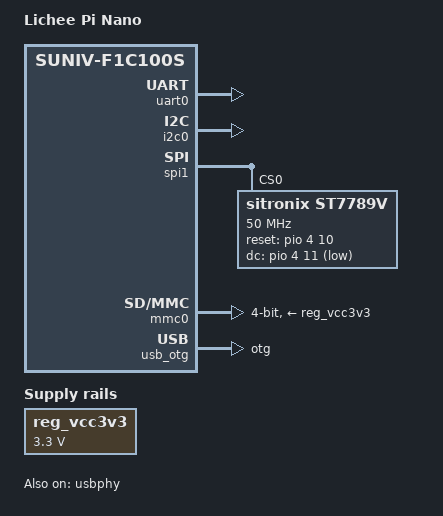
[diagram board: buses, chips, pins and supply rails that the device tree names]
// SPDX-License-Identifier: (GPL-2.0+ OR X11)
/*
 * Copyright 2018 Icenowy Zheng <icenowy@aosc.io>
 */

/dts-v1/;
#include "suniv-f1c100s.dtsi"

#include <dt-bindings/gpio/gpio.h>

/ {
	model = "Lichee Pi Nano";
	compatible = "licheepi,licheepi-nano", "allwinner,suniv-f1c100s";

	aliases {
		serial0 = &uart0;
		//serial1 = &uart1;
		i2c0 = &i2c0;
		spi0 = &spi0;
		spi1 = &spi1;
	};

	chosen {
		stdout-path = "serial0:115200n8";
	};

        reg_vcc3v3: vcc3v3 {
                compatible = "regulator-fixed";
                regulator-name = "vcc3v3";
                regulator-min-microvolt = <3300000>;
                regulator-max-microvolt = <3300000>;
        };
/*
	lradc: lradc@1c23400 {
		compatible = "allwinner,sun4i-a10-lradc-keys";
	        reg = <0x01c23400 0x100>;
        	interrupts = <22>;
	        vref-supply = <&reg_vcc3v3>;

	        button-132 {
        	    label = "PRE";
	            linux,code = <105>;
	            channel = <0>;
	            voltage = <1396825>;
	        };

	        button-196 {
	            label = "NEXT";
	            linux,code = <106>;
	            channel = <0>;
	            voltage = <1955555>;
       		};

	        button-233 {
	            label = "OK";
	            linux,code = <28>;
	            channel = <0>;
	            voltage = <233000>;
       		};

	        button-271 {
	            label = "BACK";
	            linux,code = <14>;
	            channel = <0>;
	            voltage = <271300>;
       		};
	};
*/
	lradc: lradc@1c23400 {
		compatible = "allwinner,suniv-f1c100s-lradc-keys";
	        reg = <0x01c23400 0x100>;
        	interrupts = <22>;
	        vref-supply = <&reg_vcc3v3>;
	};

};

&dma {
	status = "okay";
};

&uart0 {
	pinctrl-names = "default";
	pinctrl-0 = <&uart0_pe_pins>;
	status = "okay";
};

/*
&uart1 {
	pinctrl-names = "default";
	pinctrl-0 = <&uart1_pa_pins>;
	status = "disabled";
};
*/

&i2c0 {
	pinctl-names = "default";
	pinctrl-0 = <&i2c0_pe_pins>;
	status = "okay";
	i2c-max-frequency = <400000>;
};

&spi0 {
	pinctrl-names = "default";
	pinctrl-0 = <&spi0_pc_pins>;
	status = "disabled";
	spi-max-frequency = <50000000>;
};

&spi1 {
	pinctrl-names = "default";
	pinctrl-0 = <&spi1_pa_pins>;
	status = "okay";
        spi-max-frequency = <50000000>;

	st7789v: st7789v@0 {
                #address-cells = <1>;
                #size-cells = <1>;
                compatible = "sitronix,st7789v";
                reg = <0>;
                spi-max-frequency = <50000000>;
                rgb;
                buswidth = <8>;
                rotate = <90>;
                fps = <60>;
                spi-cpol;
                spi-cpha;
                reset-gpios = <&pio 4 10 GPIO_ACTIVE_HIGH>;
                dc-gpios = <&pio 4 11 GPIO_ACTIVE_LOW>;
                debug = <1>;
        };

/*
	ssd1306: ssd1306@0 {
                #address-cells = <1>;
                #size-cells = <1>;
                compatible = "solomon,ssd1306";
                reg = <0>;
                spi-max-frequency = <50000000>;
                buswidth = <8>;
                rotate = <0>;
                fps = <60>;
                spi-cpol;
                spi-cpha;
                reset-gpios = <&pio 4 9 GPIO_ACTIVE_HIGH>;
                dc-gpios = <&pio 4 10 GPIO_ACTIVE_LOW>;
                debug = <1>;
        };

*/
};

&mmc0 {
	vmmc-supply = <&reg_vcc3v3>;
	bus-width = <4>;
	broken-cd;
	status = "okay";
};

&otg_sram {
        status = "okay";
};

&usb_otg {
        dr_mode = "otg";
        status = "okay";
};

&usbphy {
        usb0_id_det-gpio = <&pio 4 2 GPIO_ACTIVE_HIGH>; /* PE2 */
        status = "okay";
};
